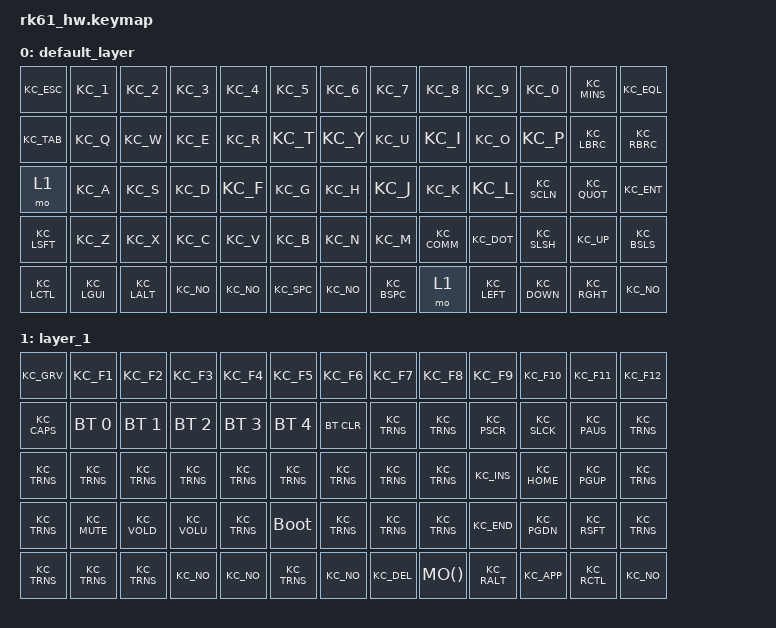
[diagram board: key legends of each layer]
#include <behaviors.dtsi>
#include <dt-bindings/zmk/keys.h>

/ {
    keymap {
        compatible = "zmk,keymap";

        default_layer { // Layer 0
            bindings = <
                &kp KC_ESC    &kp KC_1    &kp KC_2    &kp KC_3    &kp KC_4    &kp KC_5    &kp KC_6    &kp KC_7    &kp KC_8    &kp KC_9    &kp KC_0    &kp KC_MINS    &kp KC_EQL
                &kp KC_TAB    &kp KC_Q    &kp KC_W    &kp KC_E    &kp KC_R    &kp KC_T    &kp KC_Y    &kp KC_U    &kp KC_I    &kp KC_O    &kp KC_P    &kp KC_LBRC    &kp KC_RBRC
                &mo 1    &kp KC_A    &kp KC_S    &kp KC_D    &kp KC_F    &kp KC_G    &kp KC_H    &kp KC_J    &kp KC_K    &kp KC_L    &kp KC_SCLN    &kp KC_QUOT    &kp KC_ENT
                &kp KC_LSFT    &kp KC_Z    &kp KC_X    &kp KC_C    &kp KC_V    &kp KC_B    &kp KC_N    &kp KC_M    &kp KC_COMM    &kp KC_DOT    &kp KC_SLSH    &kp KC_UP    &kp KC_BSLS
                &kp KC_LCTL    &kp KC_LGUI    &kp KC_LALT    &kp KC_NO    &kp KC_NO    &kp KC_SPC    &kp KC_NO    &kp KC_BSPC    &mo 1    &kp KC_LEFT    &kp KC_DOWN    &kp KC_RGHT   &kp KC_NO
            >;
        };

        layer_1 { // Layer 1
            bindings = <
                &kp KC_GRV    &kp KC_F1    &kp KC_F2    &kp KC_F3    &kp KC_F4    &kp KC_F5    &kp KC_F6    &kp KC_F7    &kp KC_F8    &kp KC_F9    &kp KC_F10    &kp KC_F11    &kp KC_F12
                &kp KC_CAPS    &bt BT_SEL 0    &bt BT_SEL 1    &bt BT_SEL 2    &bt BT_SEL 3    &bt BT_SEL 4    &bt BT_CLR    &kp KC_TRNS    &kp KC_TRNS    &kp KC_PSCR    &kp KC_SLCK    &kp KC_PAUS    &kp KC_TRNS
                &kp KC_TRNS    &kp KC_TRNS    &kp KC_TRNS    &kp KC_TRNS    &kp KC_TRNS    &kp KC_TRNS    &kp KC_TRNS    &kp KC_TRNS    &kp KC_TRNS    &kp KC_INS    &kp KC_HOME    &kp KC_PGUP    &kp KC_TRNS
                &kp KC_TRNS    &kp KC_MUTE    &kp KC_VOLD    &kp KC_VOLU    &kp KC_TRNS    &bootloader    &kp KC_TRNS    &kp KC_TRNS    &kp KC_TRNS    &kp KC_END    &kp KC_PGDN    &kp KC_RSFT    &kp KC_TRNS
                &kp KC_TRNS    &kp KC_TRNS    &kp KC_TRNS    &kp KC_NO    &kp KC_NO    &kp KC_TRNS    &kp KC_NO    &kp KC_DEL    &kp MO()    &kp KC_RALT    &kp KC_APP    &kp KC_RCTL    &kp KC_NO
            >;
        };
    };
 };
